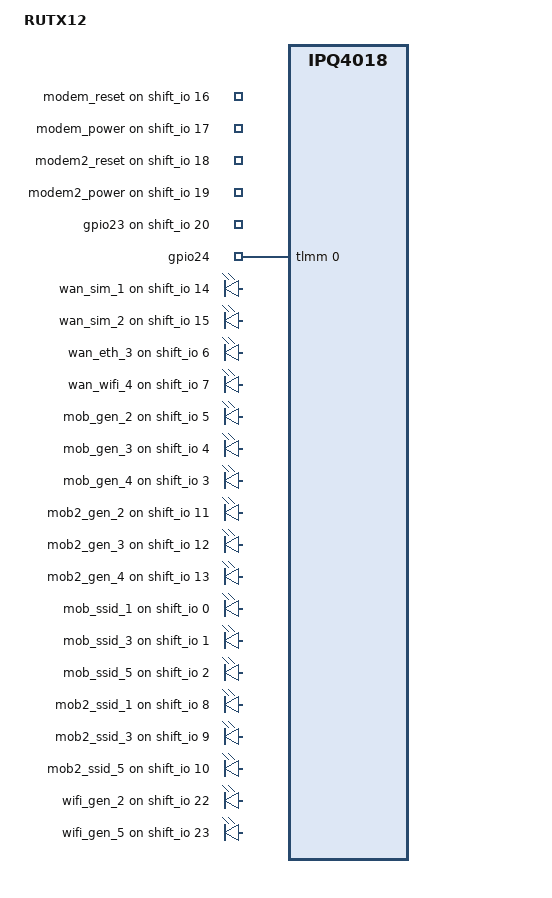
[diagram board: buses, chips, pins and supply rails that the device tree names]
#include "qcom-ipq4018-rutx-shiftreg.dtsi"

/ {
	model = "RUTX12";

	soc {
		gpio-export {
			compatible = "gpio-export";
			#size-cells = <0>;

			gpio_modem_reset {
				gpio-export,name = "modem_reset";
				gpio-export,output = <0>;
				gpios = <&shift_io 16 GPIO_ACTIVE_HIGH>;
			};

			gpio_modem_power {
				gpio-export,name = "modem_power";
				gpio-export,output = <0>;
				gpios = <&shift_io 17 GPIO_ACTIVE_HIGH>;
			};

			gpio_modem2_reset {
				gpio-export,name = "modem2_reset";
				gpio-export,output = <0>;
				gpios = <&shift_io 18 GPIO_ACTIVE_HIGH>;
			};

			gpio_modem2_power {
				gpio-export,name = "modem2_power";
				gpio-export,output = <0>;
				gpios = <&shift_io 19 GPIO_ACTIVE_HIGH>;
			};

			gpio_out_1 {
				gpio-export,name = "gpio23";
				gpio-export,output = <0>;
				gpios = <&shift_io 20 GPIO_ACTIVE_HIGH>;
			};

			gpio_in_1 {
				gpio-export,name = "gpio24";
				gpio-export,input = <0>;
				gpios = <&tlmm 0 GPIO_ACTIVE_HIGH>;
			};
		};

		leds {
			compatible = "gpio-leds";

			led_wan_sim1 {
				label = "wan_sim_1";
				gpios = <&shift_io 14 GPIO_ACTIVE_HIGH>;
			};

			led_wan_sim2 {
				label = "wan_sim_2";
				gpios = <&shift_io 15 GPIO_ACTIVE_HIGH>;
			};

			led_wan_eth {
				label = "wan_eth_3";
				gpios = <&shift_io 6 GPIO_ACTIVE_HIGH>;
			};

			led_wan_wifi {
				label = "wan_wifi_4";
				gpios = <&shift_io 7 GPIO_ACTIVE_HIGH>;
			};

			led_gen_2 {
				label = "mob_gen_2";
				gpios = <&shift_io 5 GPIO_ACTIVE_HIGH>;
			};

			led_gen_3 {
				label = "mob_gen_3";
				gpios = <&shift_io 4 GPIO_ACTIVE_HIGH>;
			};

			led_gen_4 {
				label = "mob_gen_4";
				gpios = <&shift_io 3 GPIO_ACTIVE_HIGH>;
			};

			led2_gen_2 {
				label = "mob2_gen_2";
				gpios = <&shift_io 11 GPIO_ACTIVE_HIGH>;
			};

			led2_gen_3 {
				label = "mob2_gen_3";
				gpios = <&shift_io 12 GPIO_ACTIVE_HIGH>;
			};

			led2_gen_4 {
				label = "mob2_gen_4";
				gpios = <&shift_io 13 GPIO_ACTIVE_HIGH>;
			};

			led_ssid_1 {
				label = "mob_ssid_1";
				gpios = <&shift_io 0 GPIO_ACTIVE_HIGH>;
				linux,default-trigger = "timer";
			};

			led_ssid_3 {
				label = "mob_ssid_3";
				gpios = <&shift_io 1 GPIO_ACTIVE_HIGH>;
				linux,default-trigger = "timer";
			};

			led_ssid_5 {
				label = "mob_ssid_5";
				gpios = <&shift_io 2 GPIO_ACTIVE_HIGH>;
				linux,default-trigger = "timer";
			};

			led2_ssid_1 {
				label = "mob2_ssid_1";
				gpios = <&shift_io 8 GPIO_ACTIVE_HIGH>;
				linux,default-trigger = "timer";
			};

			led2_ssid_3 {
				label = "mob2_ssid_3";
				gpios = <&shift_io 9 GPIO_ACTIVE_HIGH>;
				linux,default-trigger = "timer";
			};

			led2_ssid_5 {
				label = "mob2_ssid_5";
				gpios = <&shift_io 10 GPIO_ACTIVE_HIGH>;
				linux,default-trigger = "timer";
			};

			led_wifi_24 {
				label = "wifi_gen_2";
				gpios = <&shift_io 22 GPIO_ACTIVE_HIGH>;
			};

			led_wifi_50 {
				label = "wifi_gen_5";
				gpios = <&shift_io 23 GPIO_ACTIVE_HIGH>;
			};
		};
	};

	tlt_gpios { // Modify according to wiki page "DTS syntax with Libgpiod changes"
		gpiochip_info {
			hw_4 {
				hwver = <4>;
				gpiochip_count = <2>;

				gpiochip_0 = <100>; // Built-in
				gpiochip_1 = <24>;  // Shift Register
			};
		};

		ioman {
			GPIO_0 {
				compatible_versions = <4 99>;
				line_name = "GPIO_IN_1";
			};
			GPIO_120 {
				compatible_versions = <4 99>;
				line_name = "GPIO_OUT_1";
			};
		};

		ledman {
			GPIO_114 {
				compatible_versions = <4 99>;
				line_name = "LED_SIM_1";
			};
			GPIO_115 {
				compatible_versions = <4 99>;
				line_name = "LED_SIM_2";
			};
			GPIO_106 {
				compatible_versions = <4 99>;
				line_name = "LED_WAN_ETH";
			};
			GPIO_107 {
				compatible_versions = <4 99>;
				line_name = "LED_WAN_WIFI";
			};
			GPIO_105 {
				compatible_versions = <4 99>;
				line_name = "LED_TECH_GEN_2";
			};
			GPIO_104 {
				compatible_versions = <4 99>;
				line_name = "LED_TECH_GEN_3";
			};
			GPIO_103 {
				compatible_versions = <4 99>;
				line_name = "LED_TECH_GEN_4";
			};
			GPIO_111 {
				compatible_versions = <4 99>;
				line_name = "LED_TECH_GEN2_2";
			};
			GPIO_112 {
				compatible_versions = <4 99>;
				line_name = "LED_TECH_GEN2_3";
			};
			GPIO_113 {
				compatible_versions = <4 99>;
				line_name = "LED_TECH_GEN2_4";
			};
			GPIO_100 {
				compatible_versions = <4 99>;
				line_name = "LED_SSID_1";
			};
			GPIO_101 {
				compatible_versions = <4 99>;
				line_name = "LED_SSID_3";
			};
			GPIO_102 {
				compatible_versions = <4 99>;
				line_name = "LED_SSID_5";
			};
			GPIO_108 {
				compatible_versions = <4 99>;
				line_name = "LED_SSID2_1";
			};
			GPIO_109 {
				compatible_versions = <4 99>;
				line_name = "LED_SSID2_3";
			};
			GPIO_110 {
				compatible_versions = <4 99>;
				line_name = "LED_SSID2_5";
			};
			GPIO_122 {
				compatible_versions = <4 99>;
				line_name = "LED_WIFI_24";
			};
			GPIO_123 {
				compatible_versions = <4 99>;
				line_name = "LED_WIFI_50";
			};
		};

		misc {
			GPIO_116 {
				compatible_versions = <4 99>;
				line_name = "GPIO_MODEM_RESET_1";
			};
			GPIO_118 {
				compatible_versions = <4 99>;
				line_name = "GPIO_MODEM_RESET_2";
			};
			GPIO_117 {
				compatible_versions = <4 99>;
				line_name = "GPIO_MODEM_POWER_1";
			};
			GPIO_119 {
				compatible_versions = <4 99>;
				line_name = "GPIO_MODEM_POWER_2";
			};
		};
	};
};

&mnfinfo {
	simpin3 {
		reg = <&config_rw 0x20 0x8>;
		type = "digit";
		default = "";
	};

	simpin4 {
		reg = <&config_rw 0x30 0x8>;
		type = "digit";
		default = "";
	};
};
